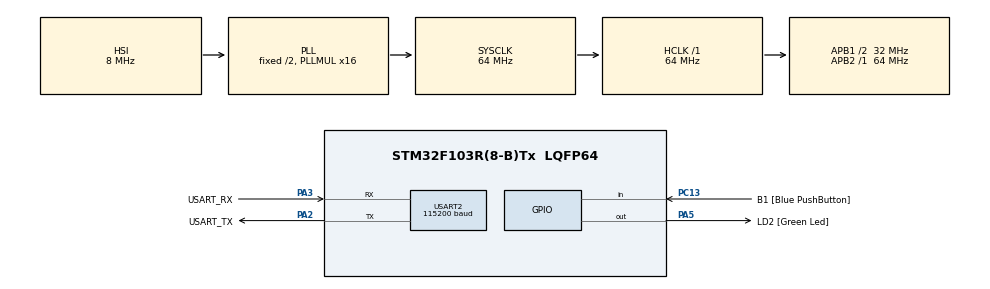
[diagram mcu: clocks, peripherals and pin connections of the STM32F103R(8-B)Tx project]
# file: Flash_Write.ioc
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Mcu.Family=STM32F1
Mcu.Name=STM32F103R(8-B)Tx
Mcu.Package=LQFP64
NVIC.PriorityGroup=NVIC_PRIORITYGROUP_4
PA13.GPIO_Label=TMS
PA13.Mode=Serial_Wire
PA13.Signal=SYS_JTMS-SWDIO
PA14.GPIO_Label=TCK
PA14.Mode=Serial_Wire
PA14.Signal=SYS_JTCK-SWCLK
PA2.GPIO_Label=USART_TX
PA2.GPIO_Mode=GPIO_MODE_AF_PP
PA2.GPIO_PuPd=GPIO_NOPULL
PA2.GPIO_Speed=GPIO_SPEED_FREQ_LOW
PA2.Mode=Asynchronous
PA2.Signal=USART2_TX
PA3.GPIO_Label=USART_RX
PA3.GPIO_PuPd=GPIO_NOPULL
PA3.GPIO_Speed=GPIO_SPEED_FREQ_LOW
PA3.Mode=Asynchronous
PA3.Signal=USART2_RX
PA5.GPIO_Label=LD2 [Green Led]
PA5.GPIO_ModeDefaultOutputPP=GPIO_MODE_OUTPUT_PP
PA5.GPIO_PuPd=GPIO_NOPULL
PA5.GPIO_Speed=GPIO_SPEED_FREQ_LOW
PA5.Signal=GPIO_Output
PB3.GPIO_Label=SWO
PB3.Signal=SYS_JTDO-TRACESWO
PC13-TAMPER-RTC.GPIO_Label=B1 [Blue PushButton]
PC13-TAMPER-RTC.GPIO_PuPd=GPIO_NOPULL
PC13-TAMPER-RTC.Signal=GPIO_Input
PC14-OSC32_IN.Mode=LSE-External-Oscillator
PC14-OSC32_IN.Signal=RCC_OSC32_IN
PC15-OSC32_OUT.Mode=LSE-External-Oscillator
PC15-OSC32_OUT.Signal=RCC_OSC32_OUT
PD0-OSC_IN.Mode=HSE-External-Clock-Source
PD0-OSC_IN.Signal=RCC_OSC_IN
PD1-OSC_OUT.Mode=HSE-External-Clock-Source
PD1-OSC_OUT.Signal=RCC_OSC_OUT
ProjectManager.HeapSize=0x200
ProjectManager.StackSize=0x400
ProjectManager.TargetToolchain=STM32CubeIDE
RCC.AHBFreq_Value=64000000
RCC.APB1CLKDivider=RCC_HCLK_DIV2
RCC.APB1Freq_Value=32000000
RCC.APB1TimFreq_Value=64000000
RCC.APB2Freq_Value=64000000
RCC.APB2TimFreq_Value=64000000
RCC.HCLKFreq_Value=64000000
RCC.PLLMUL=RCC_PLL_MUL16
RCC.RTCClockSelection=RCC_RTCCLKSOURCE_LSE
RCC.SYSCLKFreq_VALUE=64000000
RCC.SYSCLKSource=RCC_SYSCLKSOURCE_PLLCLK
RCC.USBFreq_Value=64000000
USART2.BaudRate=115200
USART2.VirtualMode=VM_ASYNC
board=NUCLEO-F103RB

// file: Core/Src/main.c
/* USER CODE BEGIN Header */
/**
 ******************************************************************************
 * @file           : main.c
 * @brief          : Main program body
 ******************************************************************************
 * @attention
 *
 * Copyright (c) 2026 STMicroelectronics.
 * All rights reserved.
 *
 * This software is licensed under terms that can be found in the LICENSE file
 * in the root directory of this software component.
 * If no LICENSE file comes with this software, it is provided AS-IS.
 *
 ******************************************************************************
 */
/**
 * 01_Flash_Write_HAL_c  —  [계층: HAL]  내부 Flash 에 데이터 저장 (EEPROM 에뮬레이션 맛보기)
 *
 * 동작: "부팅 횟수" 를 전원이 꺼져도 유지되도록 내부 Flash 마지막 페이지에 기록한다.
 *   - Flash 는 "지우기(1로 채움) -> 필요한 비트만 0 으로 쓰기" 만 가능하고, 지우기는 페이지(1KB) 단위이다.
 *   - 그래서 값이 바뀔 때마다 지우지 않고, 페이지 안의 "다음 빈 칸(0xFFFFFFFF)" 에 새 값을 덧붙여 쓴다.
 *     (256칸 = 256번 부팅까지 한 번도 지우지 않음 -> Flash 수명(약 10,000회 쓰기/지우기) 절약: 웨어 레벨링)
 *     페이지가 다 차면 그때 지우고 처음부터 다시 시작한다. 현재 값 = 마지막으로 쓰인 칸.
 *   - B1(PC13) 을 누른 채 리셋하면 페이지를 지워 카운터를 초기화한다.
 *
 * 메모리 맵 (STM32F103RB, 128KB Flash)
 *   0x08000000 ~ 0x0801FFFF, 페이지 크기 1KB, 마지막 페이지(127) = 0x0801FC00 ~ 0x0801FFFF  (프로그램은 이보다 앞에 위치)
 *   -> 링커 스크립트의 Flash 크기를 줄여 이 페이지를 데이터 전용으로 예약하는 것이 정석이다 (이 예제는 프로그램이 작아 생략).
 *
 * 하드웨어 대응 (RM0008 3장, PM0075)
 *   FLASH->KEYR 에 KEY1/KEY2 를 써서 잠금 해제 (HAL_FLASH_Unlock),  FLASH->CR.LOCK 으로 다시 잠금
 *   지우기: CR.PER=1, AR=페이지 주소, CR.STRT=1, SR.BSY 대기
 *   쓰기 : CR.PG=1 후 반워드(16비트) 단위로 쓰기 (HAL 의 WORD 프로그램은 반워드 2번)
 *
 * 주의
 *   - 지우기/쓰기 중에는 Flash 접근이 막혀 코드 실행이 멈춘다(지우기 약 20~40ms). 인터럽트 응답이 그만큼 지연된다.
 *   - 쓰기 도중 전원이 끊기면 값이 깨질 수 있다. 실제 제품은 CRC/유효 표시, 2벌 저장 등으로 보호한다.
 *   - ST-Link 로 새 프로그램을 올릴 때 이 페이지가 덮어써지면 카운터가 초기화된다.
 *
 * 인터럽트를 사용하지 않는다.
 */
/* USER CODE END Header */
#include "main.h"

/* USER CODE BEGIN Includes */
#include <stdio.h>
#include <string.h>
/* USER CODE END Includes */

/* USER CODE BEGIN PD */
#define DATA_PAGE_ADDR  0x0801FC00UL        /* 데이터 전용 페이지 = 마지막 페이지(127) */
#define PAGE_SIZE_BYTES 1024UL
#define SLOTS           (PAGE_SIZE_BYTES / 4UL)

/* USER CODE END PD */

UART_HandleTypeDef huart2;

void SystemClock_Config(void);
static void MX_GPIO_Init(void);
static void MX_USART2_UART_Init(void);

/* USER CODE BEGIN 0 */
static uint32_t *slot(uint32_t i) { return (uint32_t *)(DATA_PAGE_ADDR + i * 4UL); }

static int flash_erase_data_page(void)
{
    FLASH_EraseInitTypeDef e = {0};
    uint32_t page_error = 0;
    e.TypeErase = FLASH_TYPEERASE_PAGES;
    e.PageAddress = DATA_PAGE_ADDR;
    e.NbPages = 1;
    HAL_FLASH_Unlock();
    HAL_StatusTypeDef st = HAL_FLASHEx_Erase(&e, &page_error);
    HAL_FLASH_Lock();
    return st == HAL_OK;
}

static int flash_write_word(uint32_t addr, uint32_t value)
{
    HAL_FLASH_Unlock();
    HAL_StatusTypeDef st = HAL_FLASH_Program(FLASH_TYPEPROGRAM_WORD, addr, value);
    HAL_FLASH_Lock();
    return st == HAL_OK && *(volatile uint32_t *)addr == value;         /* 읽어서 검증 */
}

/* USER CODE END 0 */

int main(void)
{

  /* USER CODE BEGIN 1 */
  char msg[96];
  /* USER CODE END 1 */

  /* MCU Configuration--------------------------------------------------------*/

  /* Reset of all peripherals, Initializes the Flash interface and the Systick. */
  HAL_Init();

  /* Configure the system clock */
  SystemClock_Config();

  /* Initialize all configured peripherals */
  MX_GPIO_Init();
  MX_USART2_UART_Init();
  /* USER CODE BEGIN 2 */
  if (HAL_GPIO_ReadPin(B1_GPIO_Port, B1_Pin) == GPIO_PIN_RESET)          /* B1 누른 채 부팅: 카운터 초기화 */
  {
      int ok = flash_erase_data_page();
      int n = snprintf(msg, sizeof msg, "\r\nB1 held: data page erased (%s)\r\n", ok ? "ok" : "FAILED");
      HAL_UART_Transmit(&huart2, (uint8_t *)msg, (uint16_t)n, 100);
  }

  /* 마지막으로 쓰인 칸 찾기: 앞에서부터 0xFFFFFFFF 가 아닌 마지막 칸 */
  int32_t last = -1;
  for (uint32_t i = 0; i < SLOTS; i++)
  {
      if (*slot(i) != 0xFFFFFFFFUL) last = (int32_t)i; else break;
  }

  uint32_t count = (last >= 0) ? *slot((uint32_t)last) + 1U : 1U;
  int32_t next = last + 1;
  int erased = 0;
  if (next >= (int32_t)SLOTS)                    /* 페이지가 가득 참 -> 지우고 처음 칸부터 */
  {
      if (!flash_erase_data_page()) Error_Handler();
      next = 0;
      erased = 1;
  }
  int ok = flash_write_word((uint32_t)slot((uint32_t)next), count);

  int n = snprintf(msg, sizeof msg, "\r\nboot count = %lu  (stored in slot %ld/%lu at 0x%08lX)%s  write:%s\r\n",
                   (unsigned long)count, (long)next, (unsigned long)SLOTS,
                   (unsigned long)slot((uint32_t)next), erased ? " [page wrapped]" : "", ok ? "ok" : "FAILED");
  HAL_UART_Transmit(&huart2, (uint8_t *)msg, (uint16_t)n, 100);

  /* USER CODE END 2 */

  /* Infinite loop */
  while (1)
  {

    /* USER CODE BEGIN 3 */
    HAL_GPIO_TogglePin(LD2_GPIO_Port, LD2_Pin);   /* GPIOA->ODR bit5 반전 */
    HAL_Delay(500);
  }
  /* USER CODE END 3 */
}

void SystemClock_Config(void)
{
  RCC_OscInitTypeDef RCC_OscInitStruct = {0};
  RCC_ClkInitTypeDef RCC_ClkInitStruct = {0};

  /** Initializes the RCC Oscillators according to the specified parameters
  * in the RCC_OscInitTypeDef structure.
  */
  RCC_OscInitStruct.OscillatorType = RCC_OSCILLATORTYPE_HSI;
  RCC_OscInitStruct.HSIState = RCC_HSI_ON;
  RCC_OscInitStruct.HSICalibrationValue = RCC_HSICALIBRATION_DEFAULT;
  RCC_OscInitStruct.PLL.PLLState = RCC_PLL_ON;
  RCC_OscInitStruct.PLL.PLLSource = RCC_PLLSOURCE_HSI_DIV2;
  RCC_OscInitStruct.PLL.PLLMUL = RCC_PLL_MUL16;
  if (HAL_RCC_OscConfig(&RCC_OscInitStruct) != HAL_OK)
  {
    Error_Handler();
  }

  /** Initializes the CPU, AHB and APB buses clocks
  */
  RCC_ClkInitStruct.ClockType = RCC_CLOCKTYPE_HCLK|RCC_CLOCKTYPE_SYSCLK
                              |RCC_CLOCKTYPE_PCLK1|RCC_CLOCKTYPE_PCLK2;
  RCC_ClkInitStruct.SYSCLKSource = RCC_SYSCLKSOURCE_PLLCLK;
  RCC_ClkInitStruct.AHBCLKDivider = RCC_SYSCLK_DIV1;
  RCC_ClkInitStruct.APB1CLKDivider = RCC_HCLK_DIV2;
  RCC_ClkInitStruct.APB2CLKDivider = RCC_HCLK_DIV1;

  if (HAL_RCC_ClockConfig(&RCC_ClkInitStruct, FLASH_LATENCY_2) != HAL_OK)
  {
    Error_Handler();
  }
}

static void MX_USART2_UART_Init(void)
{

  huart2.Instance = USART2;
  huart2.Init.BaudRate = 115200;
  huart2.Init.WordLength = UART_WORDLENGTH_8B;
  huart2.Init.StopBits = UART_STOPBITS_1;
  huart2.Init.Parity = UART_PARITY_NONE;
  huart2.Init.Mode = UART_MODE_TX_RX;
  huart2.Init.HwFlowCtl = UART_HWCONTROL_NONE;
  huart2.Init.OverSampling = UART_OVERSAMPLING_16;
  if (HAL_UART_Init(&huart2) != HAL_OK)
  {
    Error_Handler();
  }

}

static void MX_GPIO_Init(void)
{
  GPIO_InitTypeDef GPIO_InitStruct = {0};

  /* GPIO Ports Clock Enable */
  __HAL_RCC_GPIOC_CLK_ENABLE();
  __HAL_RCC_GPIOD_CLK_ENABLE();
  __HAL_RCC_GPIOA_CLK_ENABLE();
  __HAL_RCC_GPIOB_CLK_ENABLE();

  /*Configure GPIO pin Output Level */
  HAL_GPIO_WritePin(LD2_GPIO_Port, LD2_Pin, GPIO_PIN_RESET);

  /*Configure GPIO pin : B1_Pin */
  GPIO_InitStruct.Pin = B1_Pin;
  GPIO_InitStruct.Mode = GPIO_MODE_INPUT;
  GPIO_InitStruct.Pull = GPIO_NOPULL;
  HAL_GPIO_Init(B1_GPIO_Port, &GPIO_InitStruct);

  /*Configure GPIO pin : LD2_Pin */
  GPIO_InitStruct.Pin = LD2_Pin;
  GPIO_InitStruct.Mode = GPIO_MODE_OUTPUT_PP;
  GPIO_InitStruct.Pull = GPIO_NOPULL;
  GPIO_InitStruct.Speed = GPIO_SPEED_FREQ_LOW;
  HAL_GPIO_Init(LD2_GPIO_Port, &GPIO_InitStruct);

}

void Error_Handler(void)
{
  __disable_irq();
  while (1) {
  }
}
#ifdef USE_FULL_ASSERT
/**
  * @brief  Reports the name of the source file and the source line number
  *         where the assert_param error has occurred.
  * @param  file: pointer to the source file name
  * @param  line: assert_param error line source number
  * @retval None
  */
void assert_failed(uint8_t *file, uint32_t line)
{
  /* USER CODE BEGIN 6 */
  /* User can add his own implementation to report the file name and line
     number, ex: printf("Wrong parameters value: file %s on line %d\r\n", file,
     line) */
  /* USER CODE END 6 */
}
#endif /* USE_FULL_ASSERT */
